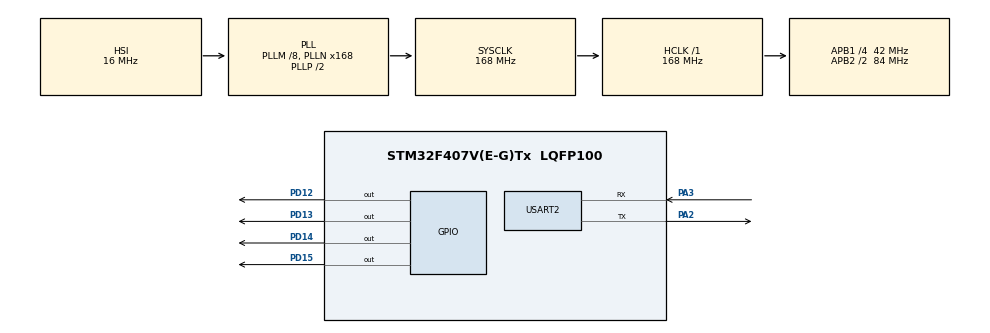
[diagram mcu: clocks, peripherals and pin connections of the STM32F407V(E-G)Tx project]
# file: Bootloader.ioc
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Mcu.Family=STM32F4
Mcu.Name=STM32F407V(E-G)Tx
Mcu.Package=LQFP100
NVIC.PriorityGroup=NVIC_PRIORITYGROUP_4
PA2.Mode=Asynchronous
PA2.Signal=USART2_TX
PA3.Mode=Asynchronous
PA3.Signal=USART2_RX
PD12.Signal=GPIO_Output
PD13.Signal=GPIO_Output
PD14.Signal=GPIO_Output
PD15.Signal=GPIO_Output
PH0-OSC_IN.Mode=HSE-External-Oscillator
PH0-OSC_IN.Signal=RCC_OSC_IN
PH1-OSC_OUT.Mode=HSE-External-Oscillator
PH1-OSC_OUT.Signal=RCC_OSC_OUT
ProjectManager.HeapSize=0x200
ProjectManager.StackSize=0x400
ProjectManager.TargetToolchain=STM32CubeIDE
RCC.48MHZClocksFreq_Value=84000000
RCC.AHBFreq_Value=168000000
RCC.APB1CLKDivider=RCC_HCLK_DIV4
RCC.APB1Freq_Value=42000000
RCC.APB1TimFreq_Value=84000000
RCC.APB2CLKDivider=RCC_HCLK_DIV2
RCC.APB2Freq_Value=84000000
RCC.APB2TimFreq_Value=168000000
RCC.CortexFreq_Value=168000000
RCC.HCLKFreq_Value=168000000
RCC.HSE_VALUE=25000000
RCC.HSI_VALUE=16000000
RCC.LSE_VALUE=32768
RCC.PLLM=8
RCC.PLLN=168
RCC.SYSCLKFreq_VALUE=168000000
RCC.SYSCLKSource=RCC_SYSCLKSOURCE_PLLCLK
RCC.VCOOutputFreq_Value=336000000
USART2.VirtualMode=VM_ASYNC
board=custom

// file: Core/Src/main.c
/* USER CODE BEGIN Header */
/**
  ******************************************************************************
  * @file           : main.c
  * @brief          : Main program body
  ******************************************************************************
  * @attention
  *
  * Copyright (c) 2023 STMicroelectronics.
  * All rights reserved.
  *
  * This software is licensed under terms that can be found in the LICENSE file
  * in the root directory of this software component.
  * If no LICENSE file comes with this software, it is provided AS-IS.
  *
  ******************************************************************************
  */
/* USER CODE END Header */
#include "main.h"

/* USER CODE BEGIN Includes */
#include "parser.h"
#include "uart_driver.h"
#include "gpio.h"
#include "bootloader.h"
/* USER CODE END Includes */

/* USER CODE BEGIN PTD */
Message receivedMessage;
Message responseMessage;
int responseData = 0; // Define your response data here
char receivedMessageBuffer[MESSAGE_LENGTH];
/* USER CODE END PTD */

UART_HandleTypeDef huart2;

void SystemClock_Config(void);
static void MX_GPIO_Init(void);
static void MX_USART2_UART_Init(void);
/* USER CODE BEGIN PFP */
void usart_receive(void);
void usart_send(const char *data, size_t length);
void processReceivedMessage(void);
/* USER CODE END PFP */

int main(void)
{

  /* MCU Configuration--------------------------------------------------------*/

  /* Reset of all peripherals, Initializes the Flash interface and the Systick. */
  HAL_Init();

  /* Configure the system clock */
  SystemClock_Config();

  /* USER CODE BEGIN SysInit */
  UART_Init();
  /* USER CODE END SysInit */

  /* Initialize all configured peripherals */
  MX_GPIO_Init();
  MX_USART2_UART_Init();

  /* Infinite loop */
  while (1)
  {

    /* USER CODE BEGIN 3 */
	  if (USART_BytesToRead() >= MESSAGE_LENGTH) {
		  // Gelen veri uzunluğu beklenen mesaj uzunluğuna eşitse
		  char receivedMessageBuffer[MESSAGE_LENGTH];
		  for (int i = 0; i < MESSAGE_LENGTH; i++) {
			  receivedMessageBuffer[i] = (char)USART_ReadByte();
		  }

		  // Gelen veriyi çözümle ve parsedMessage yapısına doldur
		  Message receivedMessage;
		  ErrorCode parseResult = parseMessage(receivedMessageBuffer, &receivedMessage);

		  if (parseResult == NO_ERROR) {
			  // Veri çözümlemesi başarılı olduysa
			  if (receivedMessage.komut == BOOTLOADER_COMMAND) {
				  // Gelen komut bootloader komutuysa
				  if (receivedMessage.emirNumarasi == BOOTLOADER_UPDATE_COMMAND) {
					  // Gelen komut bootloader güncelleme komutuysa
					  // Flash belleği sil ve yeni bootloader yazar
					  flashErase(FLASH_ADDRESS);

					  flashWrite(&receivedMessage, FLASH_ADDRESS);

					  // Yanıt mesajını oluştur ve gönder
					  Message responseMessage;
					  responseMessage.komut = BOOTLOADER_COMMAND;
					  responseMessage.slaveNo = BOOTLOADER_UPDATE_SUCCESS;
					  USART_SendByteArray((uint8_t *)&responseMessage, sizeof(responseMessage));
				  } else if (receivedMessage.emirNumarasi == BOOTLOADER_JUMP_COMMAND) {
					  // Gelen komut bootloader'a geçiş komutuysa
					  jumpApp(); // Kullanıcı uygulamasına geç
				  }
			  } else {
				  	  USART_SendByteArray("Error! Check your command...", 30);
			  }
		  } else {
			  	  USART_SendByteArray("Error! Check your data...", 30);
		  }
	  }
  }
  /* USER CODE END 3 */
}

void SystemClock_Config(void)
{
  RCC_OscInitTypeDef RCC_OscInitStruct = {0};
  RCC_ClkInitTypeDef RCC_ClkInitStruct = {0};

  /** Configure the main internal regulator output voltage
  */
  __HAL_RCC_PWR_CLK_ENABLE();
  __HAL_PWR_VOLTAGESCALING_CONFIG(PWR_REGULATOR_VOLTAGE_SCALE1);

  /** Initializes the RCC Oscillators according to the specified parameters
  * in the RCC_OscInitTypeDef structure.
  */
  RCC_OscInitStruct.OscillatorType = RCC_OSCILLATORTYPE_HSI;
  RCC_OscInitStruct.HSIState = RCC_HSI_ON;
  RCC_OscInitStruct.HSICalibrationValue = RCC_HSICALIBRATION_DEFAULT;
  RCC_OscInitStruct.PLL.PLLState = RCC_PLL_ON;
  RCC_OscInitStruct.PLL.PLLSource = RCC_PLLSOURCE_HSI;
  RCC_OscInitStruct.PLL.PLLM = 8;
  RCC_OscInitStruct.PLL.PLLN = 168;
  RCC_OscInitStruct.PLL.PLLP = RCC_PLLP_DIV2;
  RCC_OscInitStruct.PLL.PLLQ = 4;
  if (HAL_RCC_OscConfig(&RCC_OscInitStruct) != HAL_OK)
  {
    Error_Handler();
  }

  /** Initializes the CPU, AHB and APB buses clocks
  */
  RCC_ClkInitStruct.ClockType = RCC_CLOCKTYPE_HCLK|RCC_CLOCKTYPE_SYSCLK
                              |RCC_CLOCKTYPE_PCLK1|RCC_CLOCKTYPE_PCLK2;
  RCC_ClkInitStruct.SYSCLKSource = RCC_SYSCLKSOURCE_PLLCLK;
  RCC_ClkInitStruct.AHBCLKDivider = RCC_SYSCLK_DIV1;
  RCC_ClkInitStruct.APB1CLKDivider = RCC_HCLK_DIV4;
  RCC_ClkInitStruct.APB2CLKDivider = RCC_HCLK_DIV2;

  if (HAL_RCC_ClockConfig(&RCC_ClkInitStruct, FLASH_LATENCY_5) != HAL_OK)
  {
    Error_Handler();
  }
}

static void MX_USART2_UART_Init(void)
{

  huart2.Instance = USART2;
  huart2.Init.BaudRate = 115200;
  huart2.Init.WordLength = UART_WORDLENGTH_8B;
  huart2.Init.StopBits = UART_STOPBITS_1;
  huart2.Init.Parity = UART_PARITY_NONE;
  huart2.Init.Mode = UART_MODE_TX_RX;
  huart2.Init.HwFlowCtl = UART_HWCONTROL_NONE;
  huart2.Init.OverSampling = UART_OVERSAMPLING_16;
  if (HAL_UART_Init(&huart2) != HAL_OK)
  {
    Error_Handler();
  }

}

static void MX_GPIO_Init(void)
{
  GPIO_InitTypeDef GPIO_InitStruct = {0};

  /* GPIO Ports Clock Enable */
  __HAL_RCC_GPIOH_CLK_ENABLE();
  __HAL_RCC_GPIOA_CLK_ENABLE();
  __HAL_RCC_GPIOD_CLK_ENABLE();

  /*Configure GPIO pin Output Level */
  HAL_GPIO_WritePin(GPIOD, GPIO_PIN_12|GPIO_PIN_13|GPIO_PIN_14|GPIO_PIN_15, GPIO_PIN_RESET);

  /*Configure GPIO pins : PD12 PD13 PD14 PD15 */
  GPIO_InitStruct.Pin = GPIO_PIN_12|GPIO_PIN_13|GPIO_PIN_14|GPIO_PIN_15;
  GPIO_InitStruct.Mode = GPIO_MODE_OUTPUT_PP;
  GPIO_InitStruct.Pull = GPIO_NOPULL;
  GPIO_InitStruct.Speed = GPIO_SPEED_FREQ_LOW;
  HAL_GPIO_Init(GPIOD, &GPIO_InitStruct);

}

void Error_Handler(void)
{
  __disable_irq();
  while (1)
  {
  }
}
